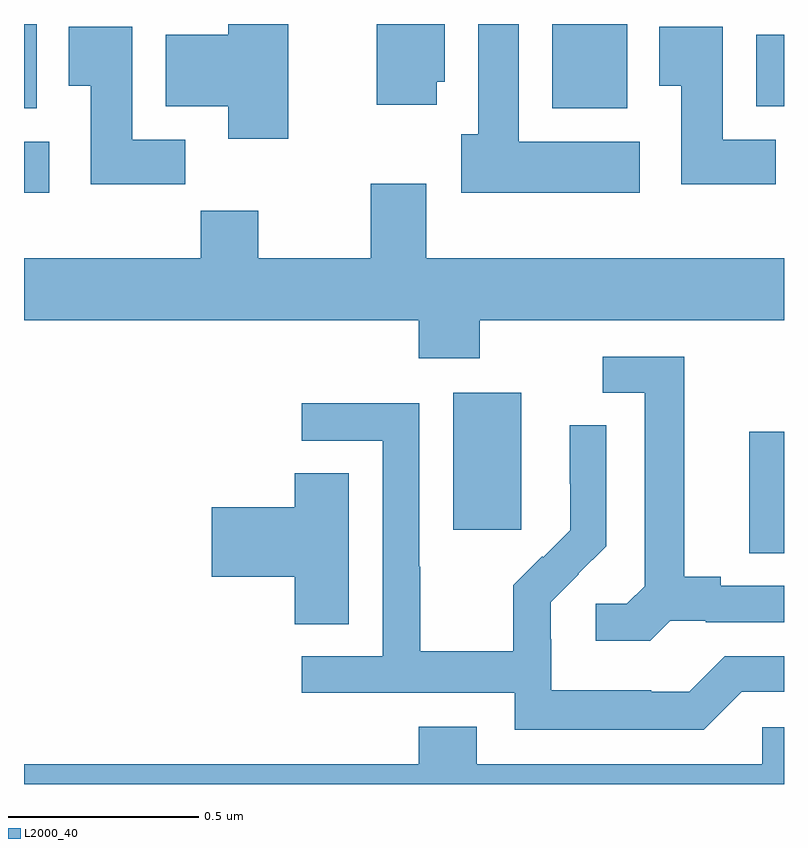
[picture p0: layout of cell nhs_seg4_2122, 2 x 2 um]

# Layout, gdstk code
import gdstk
lib = gdstk.Library(unit=1e-6, precision=1e-09)
def R(c, l, rs):  # rectangles x0, y0, x1, y1
    for r in rs: c.add(gdstk.rectangle(r[:2], r[2:], *l))
def P(c, l, *ps):  # polygons
    for p in ps: c.add(gdstk.Polygon(p, *l))
L2000_40 = (2000, 40)

nhs_seg4_2122 = lib.new_cell('nhs_seg4_2122')
R(nhs_seg4_2122, L2000_40, [(137.909,829.507,138,829.827), (137.129,829.569,137.308,829.93), (136,830.456,136.066,830.59), (136,830.678,136.033,830.9), (137.39,830.678,137.587,830.9), (137.927,830.684,138,830.872)])
P(nhs_seg4_2122, L2000_40, [(137.62,830.59),(137.302,830.59),(137.302,830.9),(137.195,830.9),(137.195,830.61),(137.15,830.61),(137.15,830.456),(137.62,830.456)],
  [(136.696,830.9),(136.538,830.9),(136.538,830.872),(136.373,830.872),(136.373,830.684),(136.538,830.684),(136.538,830.598),(136.696,830.598)],
  [(137.086,830.748),(137.107,830.748),(137.107,830.9),(136.928,830.9),(136.928,830.688),(137.086,830.688)],
  [(136.424,830.596),(136.285,830.596),(136.285,830.893),(136.118,830.893),(136.118,830.737),(136.175,830.737),(136.175,830.478),(136.424,830.478)],
  [(137.978,830.596),(137.839,830.596),(137.839,830.893),(137.672,830.893),(137.672,830.737),(137.729,830.737),(137.729,830.478),(137.978,830.478)],
  [(137.199,830.12),(138,830.12),(138,830.284),(137.059,830.284),(137.059,830.479),(136.912,830.479),(136.912,830.284),(136.617,830.284),(136.617,830.408),(136.465,830.408),(136.465,830.284),(136,830.284),(136,830.12),(137.039,830.12),(137.039,830.021),(137.199,830.021)],
  [(137.7,829.329),(137.794,829.329),(137.794,829.326),(138,829.326),(138,829.422),(137.833,829.422),(137.833,829.445),(137.737,829.445),(137.737,830.025),(137.523,830.025),(137.523,829.929),(137.633,829.929),(137.633,829.421),(137.586,829.374),(137.505,829.374),(137.505,829.277),(137.648,829.277)],
  [(137.889,829.143),(138,829.143),(138,829.236),(137.844,829.236),(137.751,829.143),(137.651,829.143),(137.651,829.147),(137.388,829.147),(137.388,829.281),(137.386,829.281),(137.386,829.378),(137.46,829.452),(137.459,829.453),(137.532,829.526),(137.532,829.844),(137.436,829.844),(137.436,829.69),(137.438,829.69),(137.438,829.568),(137.367,829.497),(137.364,829.5),(137.287,829.423),(137.287,829.249),(137.043,829.249),(137.043,829.472),(137.04,829.472),(137.04,829.902),(136.731,829.902),(136.731,829.803),(136.944,829.803),(136.944,829.236),(136.731,829.236),(136.731,829.14),(137.292,829.14),(137.292,829.043),(137.789,829.043)],
  [(136.855,829.718),(136.712,829.718),(136.712,829.628),(136.494,829.628),(136.494,829.445),(136.712,829.445),(136.712,829.321),(136.855,829.321)],
  [(138,829.05),(137.943,829.05),(137.943,828.952),(137.191,828.952),(137.191,829.051),(137.039,829.051),(137.039,828.952),(136,828.952),(136,828.9),(138,828.9)])

lib.write_gds('nhs_seg4_2122.gds')
